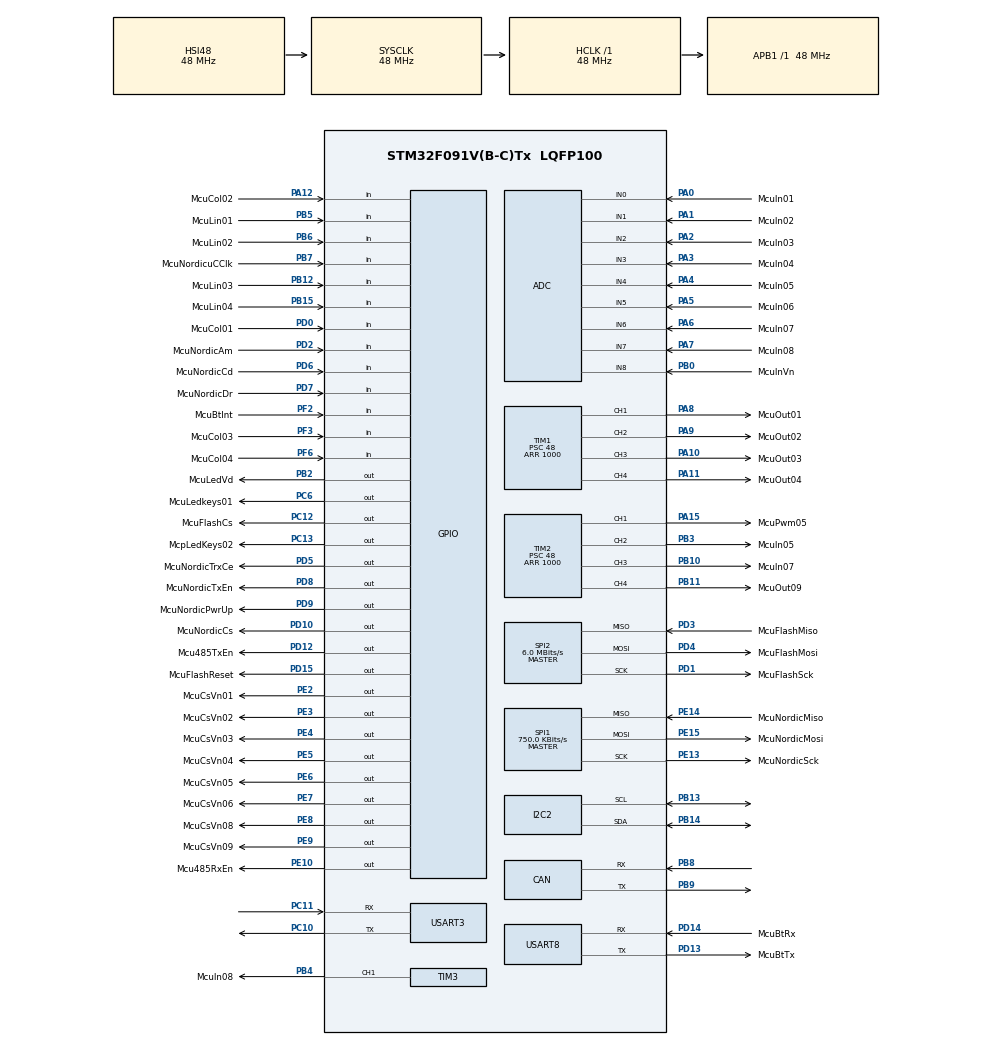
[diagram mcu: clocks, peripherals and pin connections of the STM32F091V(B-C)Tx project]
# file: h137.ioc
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ADC.ClockPrescaler=ADC_CLOCK_SYNC_PCLK_DIV4
ADC.ContinuousConvMode=ENABLE
ADC.DMAContinuousRequests=ENABLE
ADC.EOCSelection=ADC_EOC_SEQ_CONV
ADC.SamplingTime=ADC_SAMPLETIME_28CYCLES_5
CAN.CalculateTimeQuantum=333.3333333333333
Dma.ADC.0.Direction=DMA_PERIPH_TO_MEMORY
Dma.ADC.0.Instance=DMA1_Channel1
Dma.ADC.0.MemDataAlignment=DMA_MDATAALIGN_WORD
Dma.ADC.0.MemInc=DMA_MINC_ENABLE
Dma.ADC.0.Mode=DMA_NORMAL
Dma.ADC.0.PeriphDataAlignment=DMA_PDATAALIGN_WORD
Dma.ADC.0.PeriphInc=DMA_PINC_DISABLE
Dma.ADC.0.Priority=DMA_PRIORITY_MEDIUM
Dma.Request0=ADC
I2C2.Timing=0x20303E5D
Mcu.Family=STM32F0
Mcu.Name=STM32F091V(B-C)Tx
Mcu.Package=LQFP100
NVIC.DMA1_Ch1_IRQn=true\:0\:0\:false\:false\:true\:false\:true
NVIC.TIM6_DAC_IRQn=true\:0\:0\:false\:false\:true\:false\:true
NVIC.TimeBase=TIM6_DAC_IRQn
NVIC.TimeBaseIP=TIM6
PA0.GPIO_Label=McuIn01
PA0.Mode=IN0
PA0.Signal=ADC_IN0
PA1.GPIO_Label=McuIn02
PA1.Mode=IN1
PA1.Signal=ADC_IN1
PA10.GPIO_Label=McuOut03
PA10.Signal=S_TIM1_CH3
PA11.GPIO_Label=McuOut04
PA11.Signal=S_TIM1_CH4
PA12.GPIO_Label=McuCol02
PA12.Signal=GPIO_Input
PA13.Mode=Serial_Wire
PA13.Signal=SYS_SWDIO
PA14.Mode=Serial_Wire
PA14.Signal=SYS_SWCLK
PA15.GPIO_Label=McuPwm05
PA15.Signal=S_TIM2_CH1_ETR
PA2.GPIO_Label=McuIn03
PA2.Mode=IN2
PA2.Signal=ADC_IN2
PA3.GPIO_Label=McuIn04
PA3.Mode=IN3
PA3.Signal=ADC_IN3
PA4.GPIO_Label=McuIn05
PA4.Mode=IN4
PA4.Signal=ADC_IN4
PA5.GPIO_Label=McuIn06
PA5.Mode=IN5
PA5.Signal=ADC_IN5
PA6.GPIO_Label=McuIn07
PA6.Mode=IN6
PA6.Signal=ADC_IN6
PA7.GPIO_Label=McuIn08
PA7.Mode=IN7
PA7.Signal=ADC_IN7
PA8.GPIO_Label=McuOut01
PA8.Signal=S_TIM1_CH1
PA9.GPIO_Label=McuOut02
PA9.Signal=S_TIM1_CH2
PB0.GPIO_Label=McuInVn
PB0.Mode=IN8
PB0.Signal=ADC_IN8
PB10.GPIO_Label=McuIn07
PB10.Signal=S_TIM2_CH3
PB11.GPIO_Label=McuOut09
PB11.Signal=S_TIM2_CH4
PB12.GPIO_Label=McuLin03
PB12.Signal=GPIO_Input
PB13.Mode=I2C
PB13.Signal=I2C2_SCL
PB14.Mode=I2C
PB14.Signal=I2C2_SDA
PB15.GPIO_Label=McuLin04
PB15.Signal=GPIO_Input
PB2.GPIO_Label=McuLedVd
PB2.Signal=GPIO_Output
PB3.GPIO_Label=McuIn05
PB3.Signal=S_TIM2_CH2
PB4.GPIO_Label=McuIn08
PB4.Signal=S_TIM3_CH1
PB5.GPIO_Label=McuLin01
PB5.Signal=GPIO_Input
PB6.GPIO_Label=McuLin02
PB6.Signal=GPIO_Input
PB7.GPIO_Label=McuNordicuCClk
PB7.Signal=GPIO_Input
PB8.Mode=Master
PB8.Signal=CAN_RX
PB9.Mode=Master
PB9.Signal=CAN_TX
PC10.Mode=Asynchronous
PC10.Signal=USART3_TX
PC11.Mode=Asynchronous
PC11.Signal=USART3_RX
PC12.GPIO_Label=McuFlashCs
PC12.Signal=GPIO_Output
PC13.GPIO_Label=McpLedKeys02
PC13.Signal=GPIO_Output
PC14OSC32_IN.Mode=LSE-External-Oscillator
PC14OSC32_IN.Signal=RCC_OSC32_IN
PC15OSC32_OUT.Mode=LSE-External-Oscillator
PC15OSC32_OUT.Signal=RCC_OSC32_OUT
PC6.GPIO_Label=McuLedkeys01
PC6.Signal=GPIO_Output
PD0.GPIO_Label=McuCol01
PD0.Signal=GPIO_Input
PD1.GPIO_Label=McuFlashSck
PD1.Mode=Full_Duplex_Master
PD1.Signal=SPI2_SCK
PD10.GPIO_Label=McuNordicCs
PD10.Signal=GPIO_Output
PD12.GPIO_Label=Mcu485TxEn
PD12.Signal=GPIO_Output
PD13.GPIO_Label=McuBtTx
PD13.Mode=Asynchronous
PD13.Signal=USART8_TX
PD14.GPIO_Label=McuBtRx
PD14.Mode=Asynchronous
PD14.Signal=USART8_RX
PD15.GPIO_Label=McuFlashReset
PD15.Signal=GPIO_Output
PD2.GPIO_Label=McuNordicAm
PD2.Signal=GPIO_Input
PD3.GPIO_Label=McuFlashMiso
PD3.Mode=Full_Duplex_Master
PD3.Signal=SPI2_MISO
PD4.GPIO_Label=McuFlashMosi
PD4.Mode=Full_Duplex_Master
PD4.Signal=SPI2_MOSI
PD5.GPIO_Label=McuNordicTrxCe
PD5.Signal=GPIO_Output
PD6.GPIO_Label=McuNordicCd
PD6.Signal=GPIO_Input
PD7.GPIO_Label=McuNordicDr
PD7.Signal=GPIO_Input
PD8.GPIO_Label=McuNordicTxEn
PD8.Signal=GPIO_Output
PD9.GPIO_Label=McuNordicPwrUp
PD9.Signal=GPIO_Output
PE10.GPIO_Label=Mcu485RxEn
PE10.Signal=GPIO_Output
PE13.GPIO_Label=McuNordicSck
PE13.Mode=Full_Duplex_Master
PE13.Signal=SPI1_SCK
PE14.GPIO_Label=McuNordicMiso
PE14.Mode=Full_Duplex_Master
PE14.Signal=SPI1_MISO
PE15.GPIO_Label=McuNordicMosi
PE15.Mode=Full_Duplex_Master
PE15.Signal=SPI1_MOSI
PE2.GPIO_Label=McuCsVn01
PE2.Signal=GPIO_Output
PE3.GPIO_Label=McuCsVn02
PE3.Signal=GPIO_Output
PE4.GPIO_Label=McuCsVn03
PE4.Signal=GPIO_Output
PE5.GPIO_Label=McuCsVn04
PE5.Signal=GPIO_Output
PE6.GPIO_Label=McuCsVn05
PE6.Signal=GPIO_Output
PE7.GPIO_Label=McuCsVn06
PE7.Signal=GPIO_Output
PE8.GPIO_Label=McuCsVn08
PE8.Signal=GPIO_Output
PE9.GPIO_Label=McuCsVn09
PE9.Signal=GPIO_Output
PF0-OSC_IN.Mode=HSE-External-Oscillator
PF0-OSC_IN.Signal=RCC_OSC_IN
PF1-OSC_OUT.Mode=HSE-External-Oscillator
PF1-OSC_OUT.Signal=RCC_OSC_OUT
PF2.GPIO_Label=McuBtInt
PF2.Signal=GPIO_Input
PF3.GPIO_Label=McuCol03
PF3.Signal=GPIO_Input
PF6.GPIO_Label=McuCol04
PF6.Signal=GPIO_Input
ProjectManager.HeapSize=0x200
ProjectManager.StackSize=0x400
ProjectManager.TargetToolchain=STM32CubeIDE
RCC.AHBFreq_Value=48000000
RCC.APB1Freq_Value=48000000
RCC.APB1TimFreq_Value=48000000
RCC.HCLKFreq_Value=48000000
RCC.PLLSourceVirtual=RCC_PLLSOURCE_HSE
RCC.RTCClockSelection=RCC_RTCCLKSOURCE_LSE
RCC.SYSCLKFreq_VALUE=48000000
RCC.SYSCLKSource=RCC_SYSCLKSOURCE_HSI48
SH.S_TIM1_CH1.0=TIM1_CH1,PWM Generation1 CH1
SH.S_TIM1_CH2.0=TIM1_CH2,PWM Generation2 CH2
SH.S_TIM1_CH3.0=TIM1_CH3,PWM Generation3 CH3
SH.S_TIM1_CH4.0=TIM1_CH4,PWM Generation4 CH4
SH.S_TIM2_CH1_ETR.0=TIM2_CH1,PWM Generation1 CH1
SH.S_TIM2_CH2.0=TIM2_CH2,PWM Generation2 CH2
SH.S_TIM2_CH3.0=TIM2_CH3,PWM Generation3 CH3
SH.S_TIM2_CH4.0=TIM2_CH4,PWM Generation4 CH4
SH.S_TIM3_CH1.0=TIM3_CH1,Output Compare1 CH1
SPI1.BaudRatePrescaler=SPI_BAUDRATEPRESCALER_64
SPI1.CalculateBaudRate=750.0 KBits/s
SPI1.DataSize=SPI_DATASIZE_8BIT
SPI1.Direction=SPI_DIRECTION_2LINES
SPI1.Mode=SPI_MODE_MASTER
SPI1.VirtualType=VM_MASTER
SPI2.BaudRatePrescaler=SPI_BAUDRATEPRESCALER_8
SPI2.CalculateBaudRate=6.0 MBits/s
SPI2.DataSize=SPI_DATASIZE_8BIT
SPI2.Direction=SPI_DIRECTION_2LINES
SPI2.Mode=SPI_MODE_MASTER
SPI2.VirtualType=VM_MASTER
TIM1.Channel-PWM\ Generation1\ CH1=TIM_CHANNEL_1
TIM1.Channel-PWM\ Generation2\ CH2=TIM_CHANNEL_2
TIM1.Channel-PWM\ Generation3\ CH3=TIM_CHANNEL_3
TIM1.Channel-PWM\ Generation4\ CH4=TIM_CHANNEL_4
TIM1.Period=1000
TIM1.Prescaler=48
TIM2.Channel-PWM\ Generation1\ CH1=TIM_CHANNEL_1
TIM2.Channel-PWM\ Generation2\ CH2=TIM_CHANNEL_2
TIM2.Channel-PWM\ Generation3\ CH3=TIM_CHANNEL_3
TIM2.Channel-PWM\ Generation4\ CH4=TIM_CHANNEL_4
TIM2.Period=1000
TIM2.Prescaler=48
TIM3.Channel-Output\ Compare1\ CH1=TIM_CHANNEL_1
TIM3.Period=1000
TIM3.Prescaler=48
USART3.VirtualMode-Asynchronous=VM_ASYNC
USART8.VirtualMode-Asynchronous=VM_ASYNC
VP_RTC_VS_RTC_Activate.Mode=RTC_Enabled
VP_SYS_VS_tim6.Mode=TIM6
board=custom

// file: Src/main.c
/* USER CODE BEGIN Header */
/**
  ******************************************************************************
  * @file           : main.c
  * @brief          : Main program body
  ******************************************************************************
  * @attention
  *
  * <h2><center>&copy; Copyright (c) 2019 STMicroelectronics.
  * All rights reserved.</center></h2>
  *
  * This software component is licensed by ST under BSD 3-Clause license,
  * the "License"; You may not use this file except in compliance with the
  * License. You may obtain a copy of the License at:
  *                        opensource.org/licenses/BSD-3-Clause
  *
  ******************************************************************************
  */
/* USER CODE END Header */

#include "main.h"
#include "adc.h"
#include "can.h"
#include "dma.h"
#include "i2c.h"
#include "rtc.h"
#include "spi.h"
#include "tim.h"
#include "usart.h"
#include "gpio.h"

/* USER CODE BEGIN Includes */
#include "NRF905.h"
#include "MyTypes.h"
/* USER CODE END Includes */

void SystemClock_Config(void);

int main(void)
{
  /* USER CODE BEGIN 1 */
  u32t ToSend;
  uint8_t i;
  u32t ToReceive;
  /* USER CODE END 1 */

  /* MCU Configuration--------------------------------------------------------*/

  /* Reset of all peripherals, Initializes the Flash interface and the Systick. */
	HAL_Init();

  /* Configure the system clock */
  SystemClock_Config();

  /* Initialize all configured peripherals */
  MX_GPIO_Init();
  MX_DMA_Init();
  MX_ADC_Init();
  MX_CAN_Init();
  MX_I2C2_Init();
  MX_SPI1_Init();
  MX_SPI2_Init();
  MX_TIM1_Init();
  MX_TIM2_Init();
  MX_TIM3_Init();
  MX_USART3_UART_Init();
  MX_USART8_UART_Init();
  MX_RTC_Init();

  /* USER CODE BEGIN 2 */
  if(nRf905SetConfig() != HAL_OK)
  {
	  while(1);
  }

	nRf905SetTxAddr(0xAAAAAAAA);
	nRf905SetRxAddr(0xCCCCCCCC);

	Nrf905SetMode(eReceiveShockBurstMode);
	HAL_Delay(50);

	for(i = 0; i < 50; i++)
	{
		ToSend.u32v = 0x12345678;
		nRf905SendPacket(ToSend.u8v, 4);
		HAL_Delay(50);
		HAL_GPIO_TogglePin(McuLedVd_GPIO_Port, McuLedVd_Pin);
	}

	nRf905SetTxAddr(0xAAAAAAAA);
	nRf905SetRxAddr(0xCCCCCCCC);
	Nrf905SetMode(eReadDataFromRxMode);
  /* USER CODE END 2 */

  /* Infinite loop */
  while (1)
  {

    /* USER CODE BEGIN 3 */
	  Nrf905SetMode(eReadDataFromRxMode);

	  if(Nrf905GetDr() == 1)
	 	  {
		  	  //while(1);
		  	// HAL_GPIO_TogglePin(McuLedVd_GPIO_Port, McuLedVd_Pin);

		  ToReceive.u32v = 0U;
		   nRf905ReceivePacket(ToReceive.u8v, 4);

//		  	while(Nrf905GetDr() == 1)
//		  	{
//		  		HAL_Delay(5);
//		  	}

		  	 if(ToReceive.u32v == 0x12345678)
		  	 {
		  		ToReceive.u32v = 0U;
		  		for(i = 0; i < 10; i++)
		  			{
		  				HAL_Delay(50);
		  				HAL_GPIO_TogglePin(McuLedVd_GPIO_Port, McuLedVd_Pin);
		  			}
		  		HAL_GPIO_WritePin(McuLedVd_GPIO_Port, McuLedVd_Pin, GPIO_PIN_RESET);
		  	 }

		  	 if(ToReceive.u32v == 0x87654321)
		  			  	 {
		  		            ToReceive.u32v = 0U;
		  			  		for(i = 0; i < 5; i++)
		  			  			{
		  			  				HAL_Delay(100);
		  			  				HAL_GPIO_TogglePin(McuLedVd_GPIO_Port, McuLedVd_Pin);
		  			  			}
		  			  		HAL_GPIO_WritePin(McuLedVd_GPIO_Port, McuLedVd_Pin, GPIO_PIN_RESET);
		  			  	 }
	 	  }
  }
  /* USER CODE END 3 */
}

void SystemClock_Config(void)
{
  RCC_OscInitTypeDef RCC_OscInitStruct = {0};
  RCC_ClkInitTypeDef RCC_ClkInitStruct = {0};
  RCC_PeriphCLKInitTypeDef PeriphClkInit = {0};

  /** Configure LSE Drive Capability
  */
  HAL_PWR_EnableBkUpAccess();
  __HAL_RCC_LSEDRIVE_CONFIG(RCC_LSEDRIVE_HIGH);
  /** Initializes the CPU, AHB and APB busses clocks
  */
  RCC_OscInitStruct.OscillatorType = RCC_OSCILLATORTYPE_HSI48|RCC_OSCILLATORTYPE_LSE;
  RCC_OscInitStruct.LSEState = RCC_LSE_ON;
  RCC_OscInitStruct.HSI48State = RCC_HSI48_ON;
  RCC_OscInitStruct.PLL.PLLState = RCC_PLL_NONE;
  if (HAL_RCC_OscConfig(&RCC_OscInitStruct) != HAL_OK)
  {
    Error_Handler();
  }
  /** Initializes the CPU, AHB and APB busses clocks
  */
  RCC_ClkInitStruct.ClockType = RCC_CLOCKTYPE_HCLK|RCC_CLOCKTYPE_SYSCLK
                              |RCC_CLOCKTYPE_PCLK1;
  RCC_ClkInitStruct.SYSCLKSource = RCC_SYSCLKSOURCE_HSI48;
  RCC_ClkInitStruct.AHBCLKDivider = RCC_SYSCLK_DIV1;
  RCC_ClkInitStruct.APB1CLKDivider = RCC_HCLK_DIV1;

  if (HAL_RCC_ClockConfig(&RCC_ClkInitStruct, FLASH_LATENCY_1) != HAL_OK)
  {
    Error_Handler();
  }
  PeriphClkInit.PeriphClockSelection = RCC_PERIPHCLK_USART3|RCC_PERIPHCLK_RTC;
  PeriphClkInit.Usart3ClockSelection = RCC_USART3CLKSOURCE_PCLK1;
  PeriphClkInit.RTCClockSelection = RCC_RTCCLKSOURCE_LSE;
  if (HAL_RCCEx_PeriphCLKConfig(&PeriphClkInit) != HAL_OK)
  {
    Error_Handler();
  }
}

void HAL_TIM_PeriodElapsedCallback(TIM_HandleTypeDef *htim)
{
  if (htim->Instance == TIM6) {
    HAL_IncTick();
  }
}

void Error_Handler(void)
{
}

/************************ (C) COPYRIGHT STMicroelectronics *****END OF FILE****/
